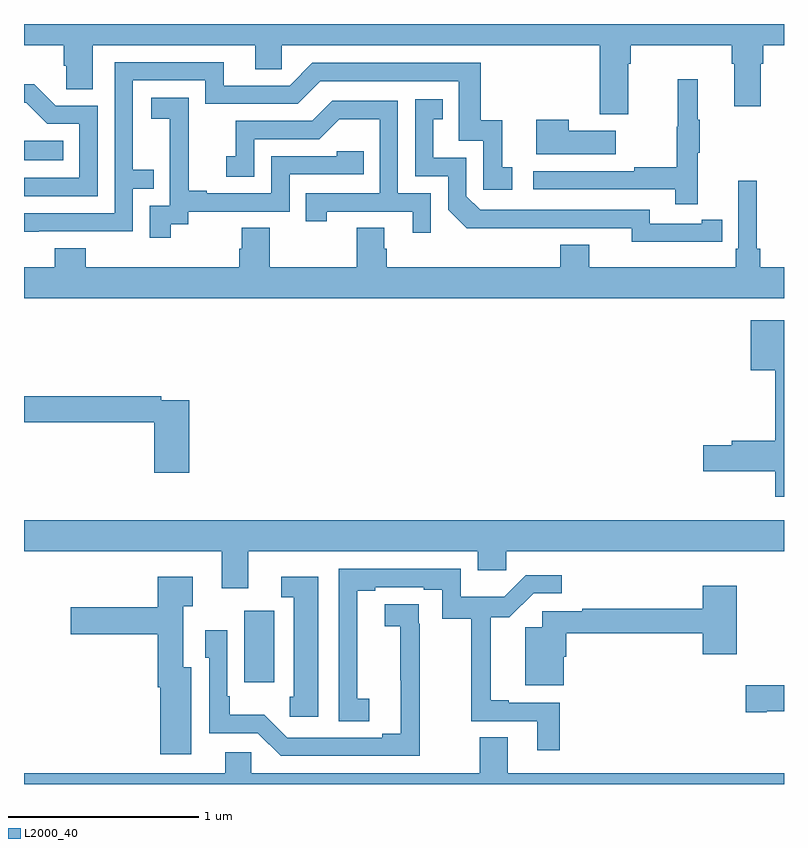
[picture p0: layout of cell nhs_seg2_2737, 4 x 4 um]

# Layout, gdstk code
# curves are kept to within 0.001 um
import gdstk
lib = gdstk.Library(unit=1e-6, precision=1e-09)
def R(c, l, rs):  # rectangles x0, y0, x1, y1
    for r in rs: c.add(gdstk.rectangle(r[:2], r[2:], *l))
def P(c, l, *ps):  # polygons
    for p in ps: c.add(gdstk.Polygon(p, *l))
L2000_40 = (2000, 40)

nhs_seg2_2737 = lib.new_cell('nhs_seg2_2737')
R(nhs_seg2_2737, L2000_40, [(255,595.082,255.206,595.186)])
P(nhs_seg2_2737, L2000_40, [(258.181,595.592),(258.194,595.592),(258.194,595.688),(258.725,595.688),(258.725,595.592),(258.737,595.592),(258.737,595.368),(258.877,595.368),(258.877,595.592),(258.89,595.592),(258.89,595.688),(259,595.688),(259,595.8),(255,595.8),(255,595.688),(255.209,595.688),(255.209,595.579),(255.222,595.579),(255.222,595.456),(255.361,595.456),(255.361,595.688),(256.217,595.688),(256.217,595.561),(256.356,595.561),(256.356,595.688),(258.029,595.688),(258.029,595.326),(258.181,595.326)],
  [(255.077,594.708),(255.573,594.708),(255.573,594.933),(255.683,594.933),(255.683,595.034),(255.573,595.034),(255.573,595.503),(255.954,595.503),(255.954,595.38),(256.44,595.38),(256.56,595.5),(257.289,595.5),(257.289,595.185),(257.418,595.185),(257.418,594.927),(257.569,594.927),(257.569,595.047),(257.516,595.047),(257.516,595.294),(257.405,595.294),(257.405,595.596),(256.518,595.596),(256.398,595.476),(256.051,595.476),(256.051,595.599),(255.477,595.599),(255.477,594.804),(255,594.804),(255,594.707)],
  [(258.545,595.123),(258.556,595.123),(258.556,595.297),(258.545,595.297),(258.545,595.51),(258.442,595.51),(258.442,595.26),(258.435,595.26),(258.435,595.046),(258.211,595.046),(258.211,595.026),(257.679,595.026),(257.679,594.93),(258.427,594.93),(258.427,594.852),(258.545,594.852)],
  [(255.387,595.371),(255.168,595.371),(255.055,595.484),(255,595.484),(255,595.386),(255.011,595.386),(255.122,595.275),(255.291,595.275),(255.291,594.99),(255,594.99),(255,594.894),(255.387,594.894)],
  [(255.772,594.745),(255.864,594.745),(255.864,594.813),(256.398,594.813),(256.398,595.008),(256.787,595.008),(256.787,595.131),(256.647,595.131),(256.647,595.104),(256.302,595.104),(256.302,594.909),(255.961,594.909),(255.961,594.922),(255.866,594.922),(255.866,595.205),(255.867,595.205),(255.867,595.411),(255.669,595.411),(255.669,595.301),(255.767,595.301),(255.767,595.073),(255.768,595.073),(255.768,594.843),(255.663,594.843),(255.663,594.675),(255.772,594.675)],
  [(258.566,594.654),(258.674,594.654),(258.674,594.77),(258.566,594.77),(258.566,594.75),(258.294,594.75),(258.294,594.822),(257.4,594.822),(257.328,594.894),(257.328,595.095),(257.155,595.095),(257.155,595.299),(257.204,595.299),(257.204,595.405),(257.058,595.405),(257.058,594.999),(257.232,594.999),(257.232,594.822),(257.33,594.725),(258.198,594.726),(258.198,594.653)],
  [(257.142,594.909),(256.968,594.909),(256.968,595.395),(256.622,595.395),(256.517,595.29),(256.114,595.29),(256.114,595.105),(256.065,595.105),(256.065,594.996),(256.212,594.996),(256.212,595.194),(256.554,595.194),(256.658,595.298),(256.872,595.298),(256.872,594.909),(256.483,594.909),(256.483,594.762),(256.594,594.762),(256.594,594.813),(257.045,594.813),(257.045,594.702),(257.142,594.702)],
  [(258.115,595.237),(257.867,595.237),(257.867,595.297),(257.696,595.297),(257.696,595.115),(258.115,595.115)],
  [(259,594.52),(258.875,594.52),(258.875,594.616),(258.856,594.616),(258.856,594.976),(258.759,594.976),(258.759,594.616),(258.746,594.616),(258.746,594.52),(257.974,594.52),(257.974,594.637),(257.822,594.637),(257.822,594.52),(256.91,594.52),(256.91,594.618),(256.897,594.618),(256.897,594.728),(256.75,594.728),(256.75,594.52),(256.293,594.52),(256.293,594.728),(256.145,594.728),(256.145,594.618),(256.133,594.618),(256.133,594.52),(255.326,594.52),(255.326,594.619),(255.161,594.619),(255.161,594.52),(255,594.52),(255,594.356),(259,594.356)],
  [(259,594.241),(258.824,594.241),(258.824,593.978),(258.954,593.978),(258.954,593.607),(258.725,593.607),(258.725,593.582),(258.576,593.582),(258.576,593.447),(258.954,593.447),(258.954,593.313),(259,593.313)],
  [(255.869,593.82),(255.722,593.82),(255.722,593.84),(255,593.84),(255,593.704),(255.686,593.704),(255.686,593.439),(255.869,593.439)],
  [(256.18,593.024),(257.387,593.024),(257.387,592.926),(257.539,592.926),(257.539,593.024),(259,593.024),(259,593.188),(255,593.188),(255,593.024),(256.04,593.024),(256.04,592.83),(256.18,592.83)],
  [(257.819,592.227),(257.551,592.227),(257.551,592.24),(257.456,592.24),(257.456,592.677),(257.555,592.677),(257.682,592.803),(257.83,592.803),(257.83,592.899),(257.64,592.899),(257.527,592.786),(257.298,592.786),(257.298,592.932),(256.656,592.932),(256.656,592.129),(256.816,592.129),(256.816,592.249),(256.755,592.249),(256.755,592.553),(256.753,592.553),(256.753,592.816),(256.849,592.816),(256.849,592.836),(257.105,592.836),(257.105,592.822),(257.202,592.822),(257.202,592.669),(257.353,592.669),(257.353,592.131),(257.702,592.131),(257.702,591.978),(257.819,591.978)],
  [(255.88,592.414),(255.838,592.414),(255.838,592.735),(255.889,592.735),(255.889,592.891),(255.704,592.891),(255.704,592.731),(255.246,592.731),(255.246,592.589),(255.704,592.589),(255.704,592.31),(255.716,592.31),(255.716,591.957),(255.88,591.957)],
  [(256.549,592.891),(256.353,592.891),(256.353,592.783),(256.421,592.783),(256.421,592.26),(256.399,592.26),(256.399,592.155),(256.549,592.155)],
  [(257.842,592.47),(257.855,592.47),(257.855,592.594),(258.572,592.594),(258.572,592.482),(258.75,592.482),(258.75,592.843),(258.572,592.843),(258.572,592.723),(257.938,592.723),(257.938,592.71),(257.727,592.71),(257.727,592.624),(257.639,592.624),(257.639,592.319),(257.842,592.319)],
  [(257.084,592.643),(257.078,592.643),(257.078,592.745),(256.899,592.745),(256.899,592.63),(256.981,592.63),(256.982,592.064),(256.886,592.064),(256.886,592.044),(256.386,592.044),(256.265,592.165),(256.084,592.165),(256.084,592.261),(256.071,592.261),(256.071,592.609),(255.954,592.609),(255.954,592.464),(255.975,592.464),(255.975,592.068),(256.23,592.068),(256.35,591.948),(257.084,591.948)],
  [(256.318,592.598),(256.316,592.598),(256.316,592.711),(256.16,592.711),(256.16,592.335),(256.318,592.335)],
  [(258.91,592.184),(259,592.184),(259,592.319),(258.798,592.319),(258.798,592.177),(258.91,592.177)],
  [(259,591.856),(257.545,591.856),(257.545,592.046),(257.398,592.046),(257.398,591.856),(256.197,591.856),(256.197,591.966),(256.058,591.966),(256.058,591.856),(255,591.856),(255,591.8),(259,591.8)])

lib.write_gds('nhs_seg2_2737.gds')
